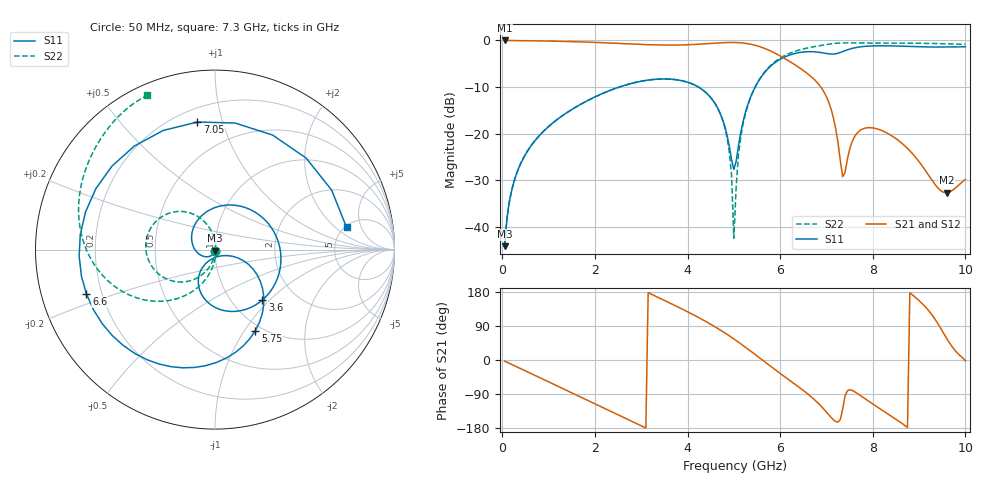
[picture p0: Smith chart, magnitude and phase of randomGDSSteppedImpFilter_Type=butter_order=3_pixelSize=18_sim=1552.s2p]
! freq	dB(S11)	phase(S11)	dB(S12)	phase(S12)
!  dB(S21)	phase(S21)	dB(S22)	phase(S22)
!S-par simulation data
#  GHz  S  DB  R 50
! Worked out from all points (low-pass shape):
!   200 points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, 50 MHz to 10 GHz, reference 50 ohm
!   highest |S21| = 0.00 dB at 50 MHz (marker M1); lowest = -32.6 dB at 9.6 GHz (marker M2)
!   |S21| within 3 dB of the highest: start of sweep to 5.943 GHz
!   lowest |S11| = -44.1 dB at 50 MHz (marker M3), VSWR 1.01, Z = 50 - j0.622 ohm
!   |S11| at or under -10 dB: start of sweep to 2.521 GHz; 4.236 GHz to 5.46 GHz (1.224 GHz wide, 25.3 % of centre)
!   |S22| runs from -44.1 to -0.5 dB; largest |S21 - S12| = 0
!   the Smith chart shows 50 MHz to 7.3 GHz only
!   S11 on the Smith chart (normalised r, x): 50 MHz: 1.00, -0.01; 3.6 GHz: 1.37, -0.91; 5.75 GHz: 0.93, -1.12; 6.6 GHz: 0.14, -0.16; 7.05 GHz: 0.28, +0.83; 7.3 GHz: 5.16, +2.86
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0.05  -44.10 -93.6  -0.00 -2.9  -0.00 -2.9  -44.08 -90.0
0.45  -25.35 -133.3  -0.05 -25.9  -0.05 -25.9  -25.29 -99.9
1.75  -13.37 103.4  -0.33 -101.1  -0.33 -101.1  -13.39 -127.2
2.6  -9.74 29.4  -0.68 -150.5  -0.68 -150.5  -9.76 -151.4
3.4  -8.27 -32.3  -0.98 163.1  -0.98 163.1  -8.28 178.5
3.6  -8.28 -46.8  -1.00 151.4  -1.00 151.4  -8.28 170.0
4.7  -15.51 -122.0  -0.52 79.7  -0.52 79.7  -15.59 110.7
4.9  -22.59 -119.7  -0.44 63.9  -0.44 63.9  -23.75 94.1
5  -27.66 -76.6  -0.44 55.6  -0.44 55.6  -42.41 47.5
5.05  -25.93 -43.0  -0.45 51.4  -0.45 51.4  -31.45 -80.3
5.25  -15.42 -21.3  -0.62 33.7  -0.62 33.7  -15.73 -106.2
5.75  -5.94 -63.6  -2.06 -12.7  -2.06 -12.7  -5.80 -148.4
6.2  -3.14 -110.5  -4.48 -53.1  -4.48 -53.1  -2.77 178.1
6.6  -2.41 -161.0  -7.19 -89.9  -7.19 -89.9  -1.59 152.9
6.7  -2.41 -177.2  -8.03 -100.2  -8.03 -100.2  -1.40 147.2
7.05  -2.88 97.8  -13.26 -144.5  -13.26 -144.5  -0.81 127.8
7.3  -2.58 9.6  -25.83 -156.6  -25.83 -156.6  -0.55 113.6
7.7  -1.42 -90.2  -19.48 -91.0  -19.48 -91.0  -0.54 92.5
8.35  -1.16 -176.2  -20.08 -144.0  -20.08 -144.0  -0.57 60.7
9  -1.35 106.4  -25.99 156.7  -25.99 156.7  -0.61 28.6
9.6  -1.40 32.8  -32.65 56.0  -32.65 56.0  -0.72 -1.8
10  -1.36 -9.4  -29.82 -2.3  -29.82 -2.3  -0.85 -22.4
